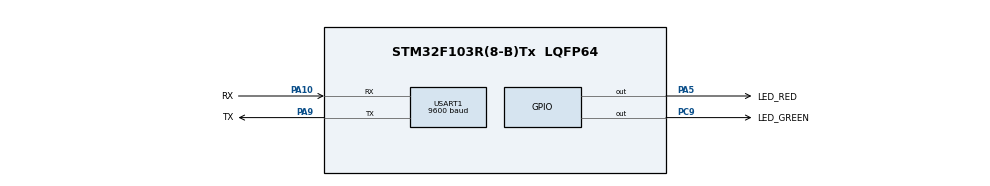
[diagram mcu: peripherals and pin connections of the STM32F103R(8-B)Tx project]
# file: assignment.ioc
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Mcu.Family=STM32F1
Mcu.Name=STM32F103R(8-B)Tx
Mcu.Package=LQFP64
NVIC.PriorityGroup=NVIC_PRIORITYGROUP_4
NVIC.TIM2_IRQn=true\:0\:0\:false\:false\:true\:true\:true
NVIC.USART1_IRQn=true\:1\:0\:true\:false\:true\:true\:true
PA10.GPIO_Label=RX
PA10.GPIO_PuPd=GPIO_PULLUP
PA10.Mode=Asynchronous
PA10.Signal=USART1_RX
PA13.Mode=Serial_Wire
PA13.Signal=SYS_JTMS-SWDIO
PA14.Mode=Serial_Wire
PA14.Signal=SYS_JTCK-SWCLK
PA5.GPIO_Label=LED_RED
PA5.Signal=GPIO_Output
PA9.GPIO_Label=TX
PA9.Mode=Asynchronous
PA9.Signal=USART1_TX
PC9.GPIO_Label=LED_GREEN
PC9.Signal=GPIO_Output
ProjectManager.HeapSize=0x200
ProjectManager.StackSize=0x400
ProjectManager.TargetToolchain=STM32CubeIDE
RCC.APB1Freq_Value=8000000
RCC.APB2Freq_Value=8000000
TIM2.Period=9
TIM2.Prescaler=7999
USART1.BaudRate=9600
USART1.VirtualMode=VM_ASYNC
VP_TIM2_VS_ClockSourceINT.Mode=Internal
board=custom

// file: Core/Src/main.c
/* USER CODE BEGIN Header */
/**
  ******************************************************************************
  * @file           : main.c
  * @brief          : Main program body
  ******************************************************************************
  * @attention
  *
  * <h2><center>&copy; Copyright (c) 2023 STMicroelectronics.
  * All rights reserved.</center></h2>
  *
  * This software component is licensed by ST under BSD 3-Clause license,
  * the "License"; You may not use this file except in compliance with the
  * License. You may obtain a copy of the License at:
  *                        opensource.org/licenses/BSD-3-Clause
  *
  ******************************************************************************
  */
/* USER CODE END Header */
#include "main.h"
#include "scheduler.h"

TIM_HandleTypeDef htim2;

UART_HandleTypeDef huart1;

void SystemClock_Config(void);
static void MX_GPIO_Init(void);
static void MX_TIM2_Init(void);
static void MX_USART1_UART_Init(void);

/* USER CODE BEGIN 0 */
uint8_t *pTxData = (uint8_t *)"testuart\n";
uint8_t RxData;
uint16_t count = 0;

void transmitUART() {
	HAL_UART_Transmit(&huart1, &pTxData[0], 10, 20);
	HAL_GPIO_TogglePin(LED_RED_GPIO_Port, LED_RED_Pin);
}

void displayLedPC9() {
	HAL_GPIO_TogglePin(LED_GREEN_GPIO_Port, LED_GREEN_Pin);
}

void HAL_UART_RxCpltCallback ( UART_HandleTypeDef * huart ) {
	//if (huart->Instance == USART1) {
		count++;
		HAL_UART_Receive_IT(&huart1, &RxData, 1);
	//}
}

/* USER CODE END 0 */

int main(void)
{

  /* MCU Configuration--------------------------------------------------------*/

  /* Reset of all peripherals, Initializes the Flash interface and the Systick. */
  HAL_Init();

  /* Configure the system clock */
  SystemClock_Config();

  /* Initialize all configured peripherals */
  MX_GPIO_Init();
  MX_TIM2_Init();
  MX_USART1_UART_Init();
  /* USER CODE BEGIN 2 */
  HAL_TIM_Base_Start_IT(&htim2);

  HAL_UART_Receive_IT(&huart1, &RxData, 1);

  SCH_Add_Task(transmitUART, 100, 2000);
  SCH_Add_Task(displayLedPC9, 100, 100);
  /* USER CODE END 2 */

  /* Infinite loop */
  while (1)
  {
	  SCH_Execute_Tasks();

  }
}

void SystemClock_Config(void)
{
  RCC_OscInitTypeDef RCC_OscInitStruct = {0};
  RCC_ClkInitTypeDef RCC_ClkInitStruct = {0};

  /** Initializes the RCC Oscillators according to the specified parameters
  * in the RCC_OscInitTypeDef structure.
  */
  RCC_OscInitStruct.OscillatorType = RCC_OSCILLATORTYPE_HSI;
  RCC_OscInitStruct.HSIState = RCC_HSI_ON;
  RCC_OscInitStruct.HSICalibrationValue = RCC_HSICALIBRATION_DEFAULT;
  RCC_OscInitStruct.PLL.PLLState = RCC_PLL_NONE;
  if (HAL_RCC_OscConfig(&RCC_OscInitStruct) != HAL_OK)
  {
    Error_Handler();
  }
  /** Initializes the CPU, AHB and APB buses clocks
  */
  RCC_ClkInitStruct.ClockType = RCC_CLOCKTYPE_HCLK|RCC_CLOCKTYPE_SYSCLK
                              |RCC_CLOCKTYPE_PCLK1|RCC_CLOCKTYPE_PCLK2;
  RCC_ClkInitStruct.SYSCLKSource = RCC_SYSCLKSOURCE_HSI;
  RCC_ClkInitStruct.AHBCLKDivider = RCC_SYSCLK_DIV1;
  RCC_ClkInitStruct.APB1CLKDivider = RCC_HCLK_DIV1;
  RCC_ClkInitStruct.APB2CLKDivider = RCC_HCLK_DIV1;

  if (HAL_RCC_ClockConfig(&RCC_ClkInitStruct, FLASH_LATENCY_0) != HAL_OK)
  {
    Error_Handler();
  }
}

static void MX_TIM2_Init(void)
{

  TIM_ClockConfigTypeDef sClockSourceConfig = {0};
  TIM_MasterConfigTypeDef sMasterConfig = {0};

  htim2.Instance = TIM2;
  htim2.Init.Prescaler = 7999;
  htim2.Init.CounterMode = TIM_COUNTERMODE_UP;
  htim2.Init.Period = 9;
  htim2.Init.ClockDivision = TIM_CLOCKDIVISION_DIV1;
  htim2.Init.AutoReloadPreload = TIM_AUTORELOAD_PRELOAD_DISABLE;
  if (HAL_TIM_Base_Init(&htim2) != HAL_OK)
  {
    Error_Handler();
  }
  sClockSourceConfig.ClockSource = TIM_CLOCKSOURCE_INTERNAL;
  if (HAL_TIM_ConfigClockSource(&htim2, &sClockSourceConfig) != HAL_OK)
  {
    Error_Handler();
  }
  sMasterConfig.MasterOutputTrigger = TIM_TRGO_RESET;
  sMasterConfig.MasterSlaveMode = TIM_MASTERSLAVEMODE_DISABLE;
  if (HAL_TIMEx_MasterConfigSynchronization(&htim2, &sMasterConfig) != HAL_OK)
  {
    Error_Handler();
  }

}

static void MX_USART1_UART_Init(void)
{

  huart1.Instance = USART1;
  huart1.Init.BaudRate = 9600;
  huart1.Init.WordLength = UART_WORDLENGTH_8B;
  huart1.Init.StopBits = UART_STOPBITS_1;
  huart1.Init.Parity = UART_PARITY_NONE;
  huart1.Init.Mode = UART_MODE_TX_RX;
  huart1.Init.HwFlowCtl = UART_HWCONTROL_NONE;
  huart1.Init.OverSampling = UART_OVERSAMPLING_16;
  if (HAL_UART_Init(&huart1) != HAL_OK)
  {
    Error_Handler();
  }

}

static void MX_GPIO_Init(void)
{
  GPIO_InitTypeDef GPIO_InitStruct = {0};

  /* GPIO Ports Clock Enable */
  __HAL_RCC_GPIOA_CLK_ENABLE();
  __HAL_RCC_GPIOC_CLK_ENABLE();

  /*Configure GPIO pin Output Level */
  HAL_GPIO_WritePin(LED_RED_GPIO_Port, LED_RED_Pin, GPIO_PIN_RESET);

  /*Configure GPIO pin Output Level */
  HAL_GPIO_WritePin(LED_GREEN_GPIO_Port, LED_GREEN_Pin, GPIO_PIN_RESET);

  /*Configure GPIO pin : LED_RED_Pin */
  GPIO_InitStruct.Pin = LED_RED_Pin;
  GPIO_InitStruct.Mode = GPIO_MODE_OUTPUT_PP;
  GPIO_InitStruct.Pull = GPIO_NOPULL;
  GPIO_InitStruct.Speed = GPIO_SPEED_FREQ_LOW;
  HAL_GPIO_Init(LED_RED_GPIO_Port, &GPIO_InitStruct);

  /*Configure GPIO pin : LED_GREEN_Pin */
  GPIO_InitStruct.Pin = LED_GREEN_Pin;
  GPIO_InitStruct.Mode = GPIO_MODE_OUTPUT_PP;
  GPIO_InitStruct.Pull = GPIO_NOPULL;
  GPIO_InitStruct.Speed = GPIO_SPEED_FREQ_LOW;
  HAL_GPIO_Init(LED_GREEN_GPIO_Port, &GPIO_InitStruct);

}

/* USER CODE BEGIN 4 */
void HAL_TIM_PeriodElapsedCallback(TIM_HandleTypeDef *htim) {
	SCH_Update();
}
/* USER CODE END 4 */

void Error_Handler(void)
{
  __disable_irq();
  while (1)
  {
  }
}

/************************ (C) COPYRIGHT STMicroelectronics *****END OF FILE****/
